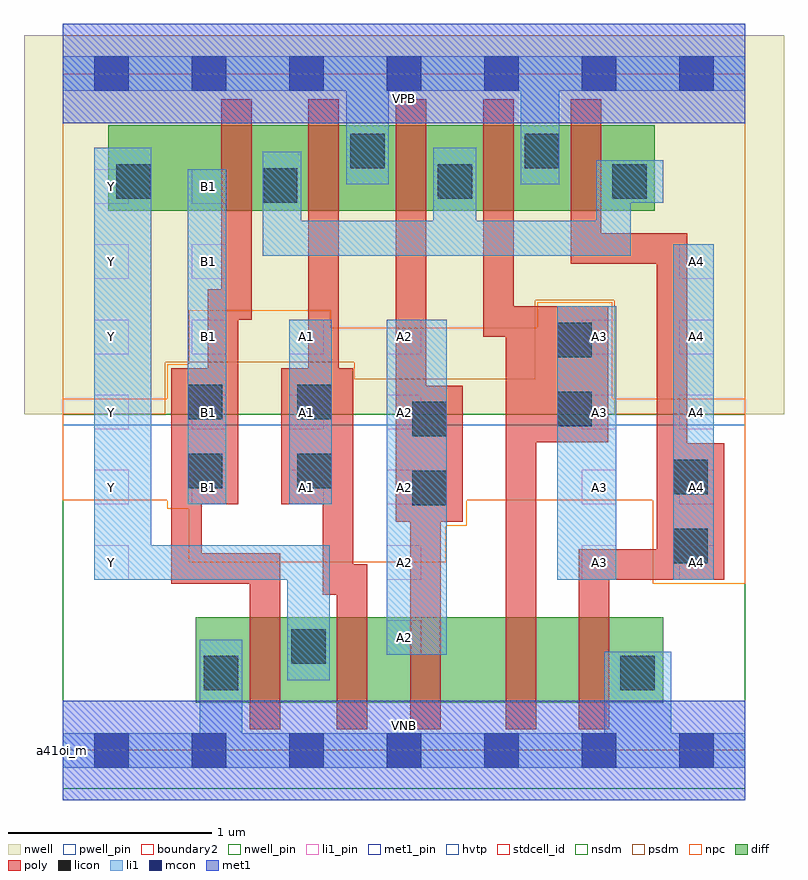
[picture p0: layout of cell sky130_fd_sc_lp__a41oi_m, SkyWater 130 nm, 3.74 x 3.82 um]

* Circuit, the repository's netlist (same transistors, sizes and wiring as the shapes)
* Copyright 2020 The SkyWater PDK Authors
*
* Licensed under the Apache License, Version 2.0 (the "License");
* you may not use this file except in compliance with the License.
* You may obtain a copy of the License at
*
*     https://www.apache.org/licenses/LICENSE-2.0
*
* Unless required by applicable law or agreed to in writing, software
* distributed under the License is distributed on an "AS IS" BASIS,
* WITHOUT WARRANTIES OR CONDITIONS OF ANY KIND, either express or implied.
* See the License for the specific language governing permissions and
* limitations under the License.
*
* SPDX-License-Identifier: Apache-2.0

.SUBCKT sky130_fd_sc_lp__a41oi_m A1 A2 A3 A4 B1 VGND VNB VPB VPWR Y
*.PININFO A1:I A2:I A3:I A4:I B1:I VGND:I VNB:I VPB:I VPWR:I Y:O
MMPA0 pndA A1 VPWR VPB sky130_fd_pr__pfet_01v8_hvt m=1 w=0.42U l=0.15U mult=1 sa=0.265
+ sb=0.265 sd=0.28 area=0.063 perim=1.14
MMPA1 pndA A2 VPWR VPB sky130_fd_pr__pfet_01v8_hvt m=1 w=0.42U l=0.15U mult=1 sa=0.265
+ sb=0.265 sd=0.28 area=0.063 perim=1.14
MMPA2 pndA A3 VPWR VPB sky130_fd_pr__pfet_01v8_hvt m=1 w=0.42U l=0.15U mult=1 sa=0.265
+ sb=0.265 sd=0.28 area=0.063 perim=1.14
MMPA3 pndA A4 VPWR VPB sky130_fd_pr__pfet_01v8_hvt m=1 w=0.42U l=0.15U mult=1 sa=0.265
+ sb=0.265 sd=0.28 area=0.063 perim=1.14
MMPB0 Y B1 pndA VPB sky130_fd_pr__pfet_01v8_hvt m=1 w=0.42U l=0.15U mult=1 sa=0.265
+ sb=0.265 sd=0.28 area=0.063 perim=1.14
MMNA0 Y A1 sndA1 VNB sky130_fd_pr__nfet_01v8 m=1 w=0.42U l=0.15U mult=1 sa=0.265
+ sb=0.265 sd=0.28 area=0.063 perim=1.14
MMNA1 sndA1 A2 sndA2 VNB sky130_fd_pr__nfet_01v8 m=1 w=0.42U l=0.15U mult=1 sa=0.265
+ sb=0.265 sd=0.28 area=0.063 perim=1.14
MMNA2 sndA2 A3 sndA3 VNB sky130_fd_pr__nfet_01v8 m=1 w=0.42U l=0.15U mult=1 sa=0.265
+ sb=0.265 sd=0.28 area=0.063 perim=1.14
MMNA3 sndA3 A4 VGND VNB sky130_fd_pr__nfet_01v8 m=1 w=0.42U l=0.15U mult=1 sa=0.265
+ sb=0.265 sd=0.28 area=0.063 perim=1.14
MMNB0 Y B1 VGND VNB sky130_fd_pr__nfet_01v8 m=1 w=0.42U l=0.15U mult=1 sa=0.265
+ sb=0.265 sd=0.28 area=0.063 perim=1.14
.ENDS sky130_fd_sc_lp__a41oi_m

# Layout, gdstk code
import gdstk
lib = gdstk.Library(unit=1e-6, precision=1e-09)
def R(c, l, rs):  # rectangles x0, y0, x1, y1
    for r in rs: c.add(gdstk.rectangle(r[:2], r[2:], *l))
def A(c, l, x, y, w, h, nx, ny, dx, dy):  # array of equal rectangles
    R(c, l, [(x+i*dx, y+j*dy, x+i*dx+w, y+j*dy+h) for i in range(nx) for j in range(ny)])
def P(c, l, *ps):  # polygons
    for p in ps: c.add(gdstk.Polygon(p, *l))
nwell_pin = (64, 16)
nwell = (64, 20)
diff = (65, 20)
poly = (66, 20)
licon = (66, 44)
li1_pin = (67, 16)
li1 = (67, 20)
mcon = (67, 44)
met1_pin = (68, 16)
met1 = (68, 20)
hvtp = (78, 44)
stdcell_id = (81, 4)
nsdm = (93, 44)
psdm = (94, 20)
npc = (95, 20)
pwell_pin = (122, 16)
boundary2 = (236, 0)

sky130_fd_sc_lp__a41oi_m = lib.new_cell('sky130_fd_sc_lp__a41oi_m')
R(sky130_fd_sc_lp__a41oi_m, nwell_pin, [(0,3.085,3.36,3.33)])
R(sky130_fd_sc_lp__a41oi_m, nwell, [(-0.19,1.655,3.55,3.52)])
R(sky130_fd_sc_lp__a41oi_m, diff, [(0.655,0.235,2.955,0.655), (0.225,2.655,2.915,3.075)])
P(sky130_fd_sc_lp__a41oi_m, poly, [(1.07,0.97),(0.685,0.97),(0.685,1.21),(0.865,1.21),(0.865,2.12),(0.93,2.12),(0.93,3.205),(0.78,3.205),(0.78,2.27),(0.715,2.27),(0.715,1.88),(0.535,1.88),(0.535,0.82),(0.92,0.82),(0.92,0.105),(1.07,0.105)],
  [(1.5,0.915),(1.43,0.915),(1.43,1.88),(1.36,1.88),(1.36,3.205),(1.21,3.205),(1.21,1.88),(1.075,1.88),(1.075,1.21),(1.28,1.21),(1.28,0.765),(1.35,0.765),(1.35,0.105),(1.5,0.105)],
  [(1.97,1.795),(1.79,1.795),(1.79,3.205),(1.64,3.205),(1.64,1.125),(1.71,1.125),(1.71,0.105),(1.86,0.105),(1.86,1.125),(1.97,1.125)],
  [(2.685,2.185),(2.22,2.185),(2.22,3.205),(2.07,3.205),(2.07,2.035),(2.18,2.035),(2.18,0.105),(2.33,0.105),(2.33,1.515),(2.685,1.515)],
  [(3.255,1.51),(3.075,1.51),(3.075,2.545),(2.65,2.545),(2.65,3.205),(2.5,3.205),(2.5,2.395),(2.925,2.395),(2.925,0.99),(2.54,0.99),(2.54,0.105),(2.69,0.105),(2.69,0.84),(3.255,0.84)])
R(sky130_fd_sc_lp__a41oi_m, licon, [(0.695,0.295,0.865,0.465), (2.745,0.295,2.915,0.465), (1.125,0.425,1.295,0.595), (3.005,0.92,3.175,1.09), (1.72,1.205,1.89,1.375), (3.005,1.26,3.175,1.43), (0.615,1.29,0.785,1.46), (1.155,1.29,1.325,1.46), (1.72,1.545,1.89,1.715), (2.435,1.595,2.605,1.765), (0.615,1.63,0.785,1.8), (1.155,1.63,1.325,1.8), (2.435,1.935,2.605,2.105), (0.985,2.695,1.155,2.865), (0.265,2.715,0.435,2.885), (1.845,2.715,2.015,2.885), (2.705,2.715,2.875,2.885), (1.415,2.865,1.585,3.035), (2.275,2.865,2.445,3.035)])
A(sky130_fd_sc_lp__a41oi_m, li1_pin, 2.555, 0.84, 0.17, 0.17, 1, 4, 0, 0.37)
A(sky130_fd_sc_lp__a41oi_m, li1_pin, 3.035, 0.84, 0.17, 0.17, 1, 5, 0, 0.37)
A(sky130_fd_sc_lp__a41oi_m, li1_pin, 0.155, 1.21, 0.17, 0.17, 4, 3, 0.48, 0.37)
R(sky130_fd_sc_lp__a41oi_m, li1_pin, [(1.595,0.47,1.765,0.64), (0.155,0.84,0.325,1.01), (1.595,0.84,1.765,1.01), (0.155,2.32,0.325,2.49), (0.635,2.32,0.805,2.49), (0.155,2.69,0.325,2.86), (0.635,2.69,0.805,2.86)])
R(sky130_fd_sc_lp__a41oi_m, li1, [(1.595,0.47,1.89,2.12), (2.435,0.84,2.725,2.185), (3.005,0.84,3.205,2.49), (0.615,1.21,0.805,2.86), (1.115,1.21,1.325,2.12)])
P(sky130_fd_sc_lp__a41oi_m, li1, [(1.395,2.785),(1.395,3.245),(0,3.245),(0,3.415),(3.36,3.415),(3.36,3.245),(2.445,3.245),(2.445,2.785),(2.255,2.785),(2.255,3.245),(1.605,3.245),(1.605,2.785)],
  [(2.665,0.085),(2.665,0.485),(2.995,0.485),(2.995,0.085),(3.36,0.085),(3.36,-0.085),(0,-0.085),(0,0.085),(0.675,0.085),(0.675,0.545),(0.885,0.545),(0.885,0.085)],
  [(2.625,2.605),(2.625,2.905),(2.955,2.905),(2.955,2.695),(2.795,2.695),(2.795,2.435),(0.985,2.435),(0.985,2.945),(1.175,2.945),(1.175,2.605),(1.825,2.605),(1.825,2.965),(2.035,2.965),(2.035,2.605)],
  [(0.155,0.84),(0.155,2.965),(0.435,2.965),(0.435,1.01),(1.315,1.01),(1.315,0.345),(1.105,0.345),(1.105,0.84)])
A(sky130_fd_sc_lp__a41oi_m, mcon, 0.155, -0.085, 0.17, 0.17, 7, 2, 0.48, 3.33)
R(sky130_fd_sc_lp__a41oi_m, met1_pin, [(0,0,3.36,0.245), (0,3.085,3.36,3.33)])
R(sky130_fd_sc_lp__a41oi_m, met1, [(0,-0.245,3.36,0.245), (0,3.085,3.36,3.575)])
R(sky130_fd_sc_lp__a41oi_m, hvtp, [(0,1.6,3.36,3.33)])
R(sky130_fd_sc_lp__a41oi_m, stdcell_id, [(0,0,3.36,3.33)])
R(sky130_fd_sc_lp__a41oi_m, nsdm, [(0,-0.19,3.36,1.655)])
P(sky130_fd_sc_lp__a41oi_m, psdm, [(3.36,3.52),(0,3.52),(0,1.655),(0.505,1.655),(0.505,1.91),(1.435,1.91),(1.435,1.825),(2.325,1.825),(2.325,2.215),(2.715,2.215),(2.715,1.655),(3.36,1.655)])
P(sky130_fd_sc_lp__a41oi_m, npc, [(3.36,1.73),(2.705,1.73),(2.705,2.205),(2.335,2.205),(2.335,2.08),(1.32,2.08),(1.32,2.165),(0.62,2.165),(0.62,1.9),(0.515,1.9),(0.515,1.73),(0,1.73),(0,1.23),(0.515,1.23),(0.515,1.19),(0.62,1.19),(0.62,0.925),(1.885,0.925),(1.885,1.105),(1.99,1.105),(1.99,1.23),(2.905,1.23),(2.905,0.82),(3.36,0.82)])
R(sky130_fd_sc_lp__a41oi_m, pwell_pin, [(0,0,3.36,0.245)])
R(sky130_fd_sc_lp__a41oi_m, boundary2, [(0,0,3.36,3.33)])
sky130_fd_sc_lp__a41oi_m.add(gdstk.Label('VNB', (1.68,0.123), layer=64, texttype=59))
sky130_fd_sc_lp__a41oi_m.add(gdstk.Label('VPB', (1.68,3.208), layer=64, texttype=5))
sky130_fd_sc_lp__a41oi_m.add(gdstk.Label('a41oi_m', (0,0), layer=83, texttype=44))
sky130_fd_sc_lp__a41oi_m.add(gdstk.Label('VPWR', (1.68,3.208), layer=68, texttype=5))
sky130_fd_sc_lp__a41oi_m.add(gdstk.Label('VGND', (1.68,0.123), layer=68, texttype=5))
sky130_fd_sc_lp__a41oi_m.add(gdstk.Label('A1', (1.2,1.295), layer=67, texttype=5))
sky130_fd_sc_lp__a41oi_m.add(gdstk.Label('A1', (1.2,1.665), layer=67, texttype=5))
sky130_fd_sc_lp__a41oi_m.add(gdstk.Label('A1', (1.2,2.035), layer=67, texttype=5))
sky130_fd_sc_lp__a41oi_m.add(gdstk.Label('A2', (1.68,0.555), layer=67, texttype=5))
sky130_fd_sc_lp__a41oi_m.add(gdstk.Label('A2', (1.68,0.925), layer=67, texttype=5))
sky130_fd_sc_lp__a41oi_m.add(gdstk.Label('A2', (1.68,1.295), layer=67, texttype=5))
sky130_fd_sc_lp__a41oi_m.add(gdstk.Label('A2', (1.68,1.665), layer=67, texttype=5))
sky130_fd_sc_lp__a41oi_m.add(gdstk.Label('A2', (1.68,2.035), layer=67, texttype=5))
sky130_fd_sc_lp__a41oi_m.add(gdstk.Label('A3', (2.64,0.925), layer=67, texttype=5))
sky130_fd_sc_lp__a41oi_m.add(gdstk.Label('A3', (2.64,1.295), layer=67, texttype=5))
sky130_fd_sc_lp__a41oi_m.add(gdstk.Label('A3', (2.64,1.665), layer=67, texttype=5))
sky130_fd_sc_lp__a41oi_m.add(gdstk.Label('A3', (2.64,2.035), layer=67, texttype=5))
sky130_fd_sc_lp__a41oi_m.add(gdstk.Label('A4', (3.12,0.925), layer=67, texttype=5))
sky130_fd_sc_lp__a41oi_m.add(gdstk.Label('A4', (3.12,1.295), layer=67, texttype=5))
sky130_fd_sc_lp__a41oi_m.add(gdstk.Label('A4', (3.12,1.665), layer=67, texttype=5))
sky130_fd_sc_lp__a41oi_m.add(gdstk.Label('A4', (3.12,2.035), layer=67, texttype=5))
sky130_fd_sc_lp__a41oi_m.add(gdstk.Label('A4', (3.12,2.405), layer=67, texttype=5))
sky130_fd_sc_lp__a41oi_m.add(gdstk.Label('B1', (0.72,1.295), layer=67, texttype=5))
sky130_fd_sc_lp__a41oi_m.add(gdstk.Label('B1', (0.72,1.665), layer=67, texttype=5))
sky130_fd_sc_lp__a41oi_m.add(gdstk.Label('B1', (0.72,2.035), layer=67, texttype=5))
sky130_fd_sc_lp__a41oi_m.add(gdstk.Label('B1', (0.72,2.405), layer=67, texttype=5))
sky130_fd_sc_lp__a41oi_m.add(gdstk.Label('B1', (0.72,2.775), layer=67, texttype=5))
sky130_fd_sc_lp__a41oi_m.add(gdstk.Label('Y', (0.24,0.925), layer=67, texttype=5))
sky130_fd_sc_lp__a41oi_m.add(gdstk.Label('Y', (0.24,1.295), layer=67, texttype=5))
sky130_fd_sc_lp__a41oi_m.add(gdstk.Label('Y', (0.24,1.665), layer=67, texttype=5))
sky130_fd_sc_lp__a41oi_m.add(gdstk.Label('Y', (0.24,2.035), layer=67, texttype=5))
sky130_fd_sc_lp__a41oi_m.add(gdstk.Label('Y', (0.24,2.405), layer=67, texttype=5))
sky130_fd_sc_lp__a41oi_m.add(gdstk.Label('Y', (0.24,2.775), layer=67, texttype=5))

lib.write_gds('sky130_fd_sc_lp__a41oi_m.gds')
